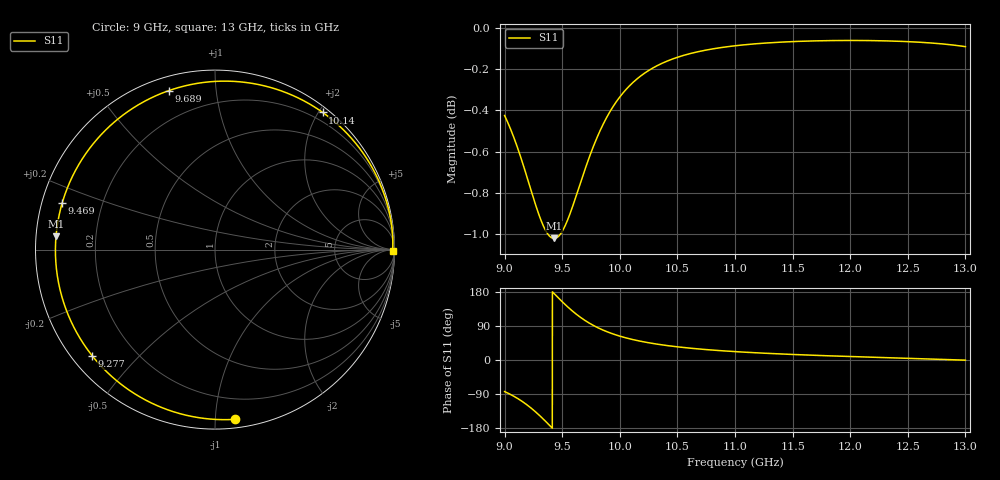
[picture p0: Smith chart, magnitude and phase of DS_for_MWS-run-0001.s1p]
! TOUCHSTONE file generated by CST DESIGN STUDIO
! Date and time: Wed Feb  5 13:38:09 2025
! Project name: C:\Work\MatlabApps\UnitCellOptimizationMatlab\CST\unitcell.cst
! Tree item: Tasks\Sweep1\SPara1\S-Parameters
! Header version: 2024
! Port assignment regex: !\s*Touchstone port\s*([0-9]+)\s*=\s*(CST MWS port|CST DES external port|CST DES block port)\s*(.+)\s* \(\"(.*)\"\)(\s*mode\s*([0-9]+))?.*
! Touchstone port assignment:
! Touchstone port 1 = CST DES external port 1 ("")
# GHz S MA R 50
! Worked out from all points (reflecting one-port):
!   4001 points, 9 GHz to 13 GHz, reference 50 ohm
!   lowest |S11| = -1.0 dB at 9.43 GHz (marker M1), VSWR 17.01, Z = 2.94 + j2.08 ohm
!   phase of S11 starts at -83 deg and turns -277 deg over the sweep
!   S11 on the Smith chart (normalised r, x): 9 GHz: 0.06, -1.12; 9.277 GHz: 0.06, -0.37; 9.469 GHz: 0.06, +0.15; 9.689 GHz: 0.06, +0.75; 10.14 GHz: 0.08, +2.05; 13 GHz: open
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9  0.9523 -83.4
9.083  0.9402 -96.2
9.152  0.9281 -109.2
9.216  0.9158 -123.5
9.277  0.9044 -139.1
9.32  0.8974 -151.2
9.358  0.8927 -162.5
9.394  0.8899 -173.6
9.43  0.8889 175.2
9.469  0.8901 163.2
9.5  0.8925 153.8
9.547  0.8982 140.3
9.593  0.9055 128.1
9.64  0.9137 116.7
9.689  0.9224 106.2
9.759  0.9341 93.2
9.842  0.9459 80.6
9.919  0.9548 71.1
10  0.9622 63.0
10.143  0.9716 51.9
10.304  0.9785 42.8
10.5  0.9838 34.8
10.723  0.9875 28.1
11  0.9902 22.1
11.5  0.9925 14.6
12  0.9931 9.2
12.5  0.9925 4.5
13  0.9897 -0.4
